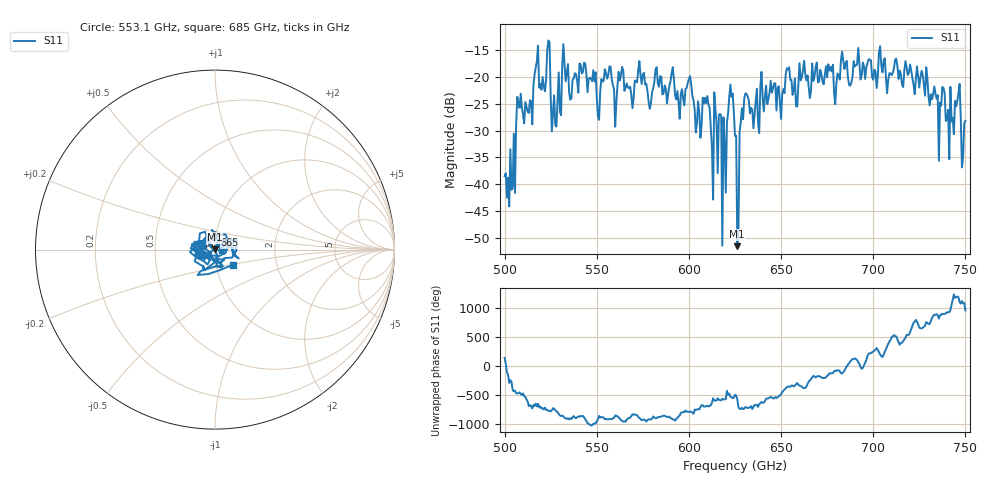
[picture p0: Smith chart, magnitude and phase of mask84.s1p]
!Created with skrf (http://scikit-rf.org).
# GHz S MA R 50.0
!freq magS11 angS11
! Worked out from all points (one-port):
!   401 points, 500 GHz to 750 GHz, reference 50 ohm
!   lowest |S11| = -51.5 dB at 626.2 GHz (marker M1), VSWR 1.01, Z = 49.8 + j0.144 ohm
!   |S11| at or under -10 dB: start of sweep to end of sweep
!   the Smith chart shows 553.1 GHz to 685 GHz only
!   S11 on the Smith chart (normalised r, x): 553.1 GHz: 0.84, -0.04; 665 GHz: 0.99, +0.16; 685 GHz: 1.21, -0.21
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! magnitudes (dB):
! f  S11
! 500 GHz  -38.5
! 505 GHz  -30.6
! 507.5 GHz  -24.9
! 513.8 GHz  -24.3
! 516.9 GHz  -18.3
! 523.8 GHz  -13.2
! 526.9 GHz  -23.4
! 531.2 GHz  -18.1
! 553.1 GHz  -20.9
! 562.5 GHz  -20.7
! 590.6 GHz  -19.3
! 593.8 GHz  -22.7
! 610 GHz  -23.6
! 611.9 GHz  -29.3
! 615 GHz  -28.7
! 619.4 GHz  -32.0
! 623.1 GHz  -23.7
! 625 GHz  -31.0
! 626.2 GHz  -51.5
! 631.2 GHz  -23.2
! 656.2 GHz  -23.4
! 665 GHz  -22.0
! 685 GHz  -17.5
! 687.5 GHz  -21.7
! 718.8 GHz  -19.7
! 742.5 GHz  -28.3
! 745.6 GHz  -24.5
! 750 GHz  -28.2
